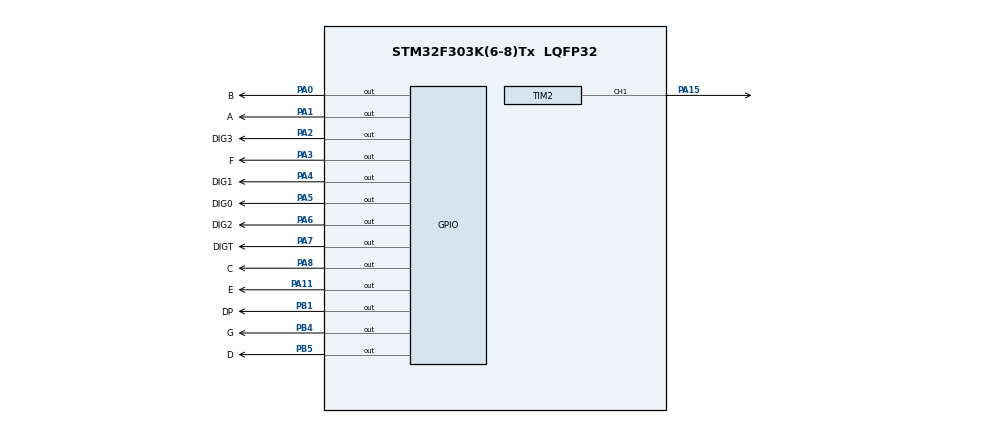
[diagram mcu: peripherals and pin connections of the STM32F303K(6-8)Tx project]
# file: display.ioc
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Mcu.Family=STM32F3
Mcu.Name=STM32F303K(6-8)Tx
Mcu.Package=LQFP32
NVIC.PriorityGroup=NVIC_PRIORITYGROUP_4
NVIC.TIM2_IRQn=true\:0\:0\:false\:false\:true\:true\:true
PA0.GPIO_Label=B
PA0.Signal=GPIO_Output
PA1.GPIO_Label=A
PA1.Signal=GPIO_Output
PA11.GPIO_Label=E
PA11.Signal=GPIO_Output
PA15.Signal=S_TIM2_CH1_ETR
PA2.GPIO_Label=DIG3
PA2.Signal=GPIO_Output
PA3.GPIO_Label=F
PA3.Signal=GPIO_Output
PA4.GPIO_Label=DIG1
PA4.Signal=GPIO_Output
PA5.GPIO_Label=DIG0
PA5.Signal=GPIO_Output
PA6.GPIO_Label=DIG2
PA6.Signal=GPIO_Output
PA7.GPIO_Label=DIGT
PA7.Signal=GPIO_Output
PA8.GPIO_Label=C
PA8.Signal=GPIO_Output
PB1.GPIO_Label=DP
PB1.Signal=GPIO_Output
PB4.GPIO_Label=G
PB4.Signal=GPIO_Output
PB5.GPIO_Label=D
PB5.Signal=GPIO_Output
ProjectManager.HeapSize=0x200
ProjectManager.StackSize=0x400
ProjectManager.TargetToolchain=STM32CubeIDE
RCC.AHBFreq_Value=8000000
RCC.APB1Freq_Value=8000000
RCC.APB2Freq_Value=8000000
RCC.CortexFreq_Value=8000000
RCC.HSE_VALUE=8000000
RCC.HSI_VALUE=8000000
RCC.SYSCLKFreq_VALUE=8000000
SH.S_TIM2_CH1_ETR.0=TIM2_CH1,Output Compare1 CH1
TIM2.Channel-Output\ Compare1\ CH1=TIM_CHANNEL_1
TIM2.Period=9
TIM2.Prescaler=7999
VP_TIM2_VS_ClockSourceINT.Mode=Internal
board=custom

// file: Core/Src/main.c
/* USER CODE BEGIN Header */
/**
  ******************************************************************************
  * @file           : main.c
  * @brief          : Main program body
  ******************************************************************************
  * @attention
  *
  * <h2><center>&copy; Copyright (c) 2021 STMicroelectronics.
  * All rights reserved.</center></h2>
  *
  * This software component is licensed by ST under BSD 3-Clause license,
  * the "License"; You may not use this file except in compliance with the
  * License. You may obtain a copy of the License at:
  *                        opensource.org/licenses/BSD-3-Clause
  *
  ******************************************************************************
  */
/* USER CODE END Header */
#include "main.h"
#include "tim.h"
#include "gpio.h"
#include "string.h"

/* USER CODE BEGIN PV */

int index_1 = 0;
int index_2 = 0;
int num = 0;
int smer = 0;
char meno[30] = "JURAJ_GREGUS_98331";

const unsigned char seven_seg_digits_decode_abcdefg[75]= {
/*  0     1     2     3     4     5     6     7     8     9     :     ;     */
    0x7E, 0x30, 0x6D, 0x79, 0x33, 0x5B, 0x5F, 0x70, 0x7F, 0x7B, 0x00, 0x00,
/*  <     =     >     ?     @     A     B     C     D     E     F     G     */
    0x00, 0x00, 0x00, 0x00, 0x00, 0x77, 0x1F, 0x4E, 0x3D, 0x4F, 0x47, 0x5E,
/*  H     I     J     K     L     M     N     O     P     Q     R     S     */
    0x37, 0x06, 0x3C, 0x57, 0x0E, 0x55, 0x15, 0x1D, 0x67, 0x73, 0x05, 0x5B,
/*  T     U     V     W     X     Y     Z     [     \     ]     ^     _     */
    0x0F, 0x3E, 0x1C, 0x5C, 0x13, 0x3B, 0x6D, 0x00, 0x00, 0x00, 0x00, 0x08,
/*  `     a     b     c     d     e     f     g     h     i     j     k     */
    0x00, 0x77, 0x1F, 0x4E, 0x3D, 0x4F, 0x47, 0x5E, 0x37, 0x06, 0x3C, 0x57,
/*  l     m     n     o     p     q     r     s     t     u     v     w     */
    0x0E, 0x55, 0x15, 0x1D, 0x67, 0x73, 0x05, 0x5B, 0x0F, 0x3E, 0x1C, 0x5C,
/*  x     y     z     */
    0x13, 0x3B, 0x6D
};
/* USER CODE END PV */

void SystemClock_Config(void);

int main(void)
{

  /* MCU Configuration--------------------------------------------------------*/

  /* Reset of all peripherals, Initializes the Flash interface and the Systick. */

  LL_APB2_GRP1_EnableClock(LL_APB2_GRP1_PERIPH_SYSCFG);
  LL_APB1_GRP1_EnableClock(LL_APB1_GRP1_PERIPH_PWR);

  NVIC_SetPriorityGrouping(NVIC_PRIORITYGROUP_4);

  /* System interrupt init*/
  /* SysTick_IRQn interrupt configuration */
  NVIC_SetPriority(SysTick_IRQn, NVIC_EncodePriority(NVIC_GetPriorityGrouping(),15, 0));

  /* Configure the system clock */
  SystemClock_Config();

  /* Initialize all configured peripherals */
  MX_GPIO_Init();
  MX_TIM2_Init();
  /* USER CODE BEGIN 2 */
  LL_TIM_EnableCounter(TIM2);
  LL_TIM_EnableIT_UPDATE(TIM2);
  /* USER CODE END 2 */

  /* Infinite loop */
  /* USER CODE BEGIN WHILE */
  while (1){
	  if(smer){
		  	  for (index_2 = strlen(meno) - 4; index_2 >= 0; index_2--){
		  			LL_mDelay(500);
		  			if(index_2==0){
						 smer = 0;
						 break;
		  			}
		  	   }
	  	  }
	  if(!smer){
		  for (index_2 = 0; index_2 <= strlen(meno) - 4; index_2++){
		  			  LL_mDelay(500);
		  			  if( index_2 == (strlen(meno)-4)){
		  				  smer = 1;
		  				  break;
		  			  }
		  }
	  }
  }
}
/* USER CODE END WHILE */
void SystemClock_Config(void)
{
  LL_FLASH_SetLatency(LL_FLASH_LATENCY_0);
  while(LL_FLASH_GetLatency()!= LL_FLASH_LATENCY_0)
  {
  }
  LL_RCC_HSI_Enable();

   /* Wait till HSI is ready */
  while(LL_RCC_HSI_IsReady() != 1)
  {

  }
  LL_RCC_HSI_SetCalibTrimming(16);
  LL_RCC_SetAHBPrescaler(LL_RCC_SYSCLK_DIV_1);
  LL_RCC_SetAPB1Prescaler(LL_RCC_APB1_DIV_1);
  LL_RCC_SetAPB2Prescaler(LL_RCC_APB2_DIV_1);
  LL_RCC_SetSysClkSource(LL_RCC_SYS_CLKSOURCE_HSI);

   /* Wait till System clock is ready */
  while(LL_RCC_GetSysClkSource() != LL_RCC_SYS_CLKSOURCE_STATUS_HSI)
  {

  }
  LL_Init1msTick(8000000);
  LL_SetSystemCoreClock(8000000);
}

/* USER CODE BEGIN 4 */
unsigned char decode_7seg(unsigned char chr){

	if (chr > (unsigned char)'z')
        return 0x00;
    return seven_seg_digits_decode_abcdefg[chr - '0'];
}

/**
 * displayData() -> Conversion of char to hex.
 */
void displayData(char chr)
{

	uint8_t transfer,help_var;
	transfer = decode_7seg(chr);
	help_var = transfer & 1;
	if(help_var)
			LL_GPIO_ResetOutputPin(SEGMENTG_PORT, SEGMENTG_PIN);
	transfer = transfer >> 1;
	help_var = transfer & 1;
	if(help_var)
			LL_GPIO_ResetOutputPin(SEGMENTF_PORT, SEGMENTF_PIN);
	transfer = transfer >> 1;
	help_var = transfer & 1;
	if(help_var)
			LL_GPIO_ResetOutputPin(SEGMENTE_PORT, SEGMENTE_PIN);
	transfer = transfer >> 1;
	help_var = transfer & 1;
	if(help_var)
			LL_GPIO_ResetOutputPin(SEGMENTD_PORT, SEGMENTD_PIN);
	transfer = transfer >> 1;
	help_var = transfer & 1;
	if(help_var)
			LL_GPIO_ResetOutputPin(SEGMENTC_PORT, SEGMENTC_PIN);
	transfer = transfer >> 1;
	help_var = transfer & 1;
	if(help_var)
			LL_GPIO_ResetOutputPin(SEGMENTB_PORT, SEGMENTB_PIN);
	transfer = transfer >> 1;
	help_var = transfer & 1;
	if(help_var)
			LL_GPIO_ResetOutputPin(SEGMENTA_PORT, SEGMENTA_PIN);

}
/*
 * Turns required digit ON
 */

/**
 * Display data in dDisplayData.
 * Sets every digit to display its value and decimal point.
 */
void updateDisplay(void)
{
	resetDigits();
	resetSegments();
	setDigit(num);
	displayData(meno[index_1+index_2]);
}

void setDigit(uint8_t pos)
{
	if(pos == 0){
		DIGIT_1_ON;
	}
	else if(pos == 1){
		DIGIT_2_ON;
	}
	else if(pos == 2){
		DIGIT_3_ON;
	}
	else if(pos == 3){
		DIGIT_4_ON;
	}
}

/*Reset (turn-off) all the segments of display*/
void resetSegments(void)
{
	LL_GPIO_SetOutputPin(GPIOA, LL_GPIO_PIN_11);
	LL_GPIO_SetOutputPin(GPIOA, LL_GPIO_PIN_8);
	LL_GPIO_SetOutputPin(GPIOB, LL_GPIO_PIN_1);
	LL_GPIO_SetOutputPin(GPIOB, LL_GPIO_PIN_5);
	LL_GPIO_SetOutputPin(GPIOB, LL_GPIO_PIN_4);
	LL_GPIO_SetOutputPin(GPIOA, LL_GPIO_PIN_0);
	LL_GPIO_SetOutputPin(GPIOA, LL_GPIO_PIN_1);
	LL_GPIO_SetOutputPin(GPIOA, LL_GPIO_PIN_3);
}

/* Reset (turn-off) all digits*/
void resetDigits(void)
{
	LL_GPIO_ResetOutputPin(GPIOA, LL_GPIO_PIN_2);
	LL_GPIO_ResetOutputPin(GPIOA, LL_GPIO_PIN_5);
	LL_GPIO_ResetOutputPin(GPIOA, LL_GPIO_PIN_4);
	LL_GPIO_ResetOutputPin(GPIOA, LL_GPIO_PIN_6);
	LL_GPIO_ResetOutputPin(GPIOA, LL_GPIO_PIN_7);
}

//Update displayed data and keep display ON
void TIM2_IRQHandler(void)
{
	if(LL_TIM_IsActiveFlag_UPDATE(TIM2))
	{
		if(num > 3)
				num = 0;
		if(index_1 > 3)
				index_1 = 0;
		updateDisplay();
		num++;
		index_1++;
	}
	LL_TIM_ClearFlag_UPDATE(TIM2);
}

/* USER CODE END 4 */

void Error_Handler(void)
{
  __disable_irq();
  while (1)
  {
  }
}

/************************ (C) COPYRIGHT STMicroelectronics *****END OF FILE****/
